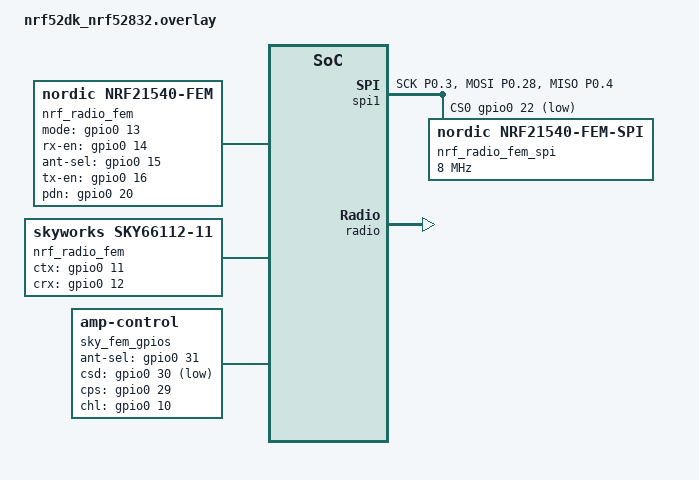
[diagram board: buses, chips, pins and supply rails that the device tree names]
&pinctrl {
	spi1_default: spi1_default {
		group1 {
			psels = <NRF_PSEL(SPIM_MOSI, 0, 23)>,
					<NRF_PSEL(SPIM_MISO, 0, 24)>,
					<NRF_PSEL(SPIM_SCK, 0, 25)>;
//			psels = <NRF_PSEL(SPIM_MOSI, 0, 28)>,
//					<NRF_PSEL(SPIM_MISO, 0, 4)>,
//					<NRF_PSEL(SPIM_SCK, 0, 3)>;
		};
	};
};

&spi1 {
	compatible = "nordic,nrf-spi";
	status = "okay";
	cs-gpios = <&gpio0 22 (GPIO_PULL_UP | GPIO_ACTIVE_LOW)>;
	//cs-gpios = <&gpio0 29 (GPIO_PULL_UP | GPIO_ACTIVE_LOW)>;
	pinctrl-0 = <&spi1_default>;
	pinctrl-names = "default", "sleep";
//	dw1000_spi: dw1000@0 {
//		compatible = "decawave,dw1000";
//		reg = <0x0>;
//		int-gpios = <&gpio0 30 0>;
//		reset-gpios = <&gpio0 31 0>;
//		spi-max-frequency = <8000000>;
//	};
	nrf_radio_fem_spi: nrf21540-fem-spi@0 {
		compatible = "nordic,nrf21540-fem-spi";
		reg = <0x0>;
		spi-max-frequency = <8000000>;
	};
};
&spi2 {
	status = "disabled";
};

/ {
	nrf_radio_fem: nrf21540-fem {
		compatible = "nordic,nrf21540-fem";
		mode-gpios = <&gpio0 13 0>;
		rx-en-gpios = <&gpio0 14 0>;
		ant-sel-gpios = <&gpio0 15 0>;
		tx-en-gpios = <&gpio0 16 0>;
		pdn-gpios = <&gpio0 20 0>;
		spi-if = <&nrf_radio_fem_spi>;
		supply-voltage-mv = <3000>;
		status = "okay";
	};
};

//

&spi1_sleep {
	group1 {
		psels = <NRF_PSEL(SPIM_SCK, 0, 3)>,
				<NRF_PSEL(SPIM_MOSI, 0, 28)>,
				<NRF_PSEL(SPIM_MISO, 0, 4)>;
	};
};

&spi1_default {
	group1 {
		psels = <NRF_PSEL(SPIM_SCK, 0, 3)>,
				<NRF_PSEL(SPIM_MOSI, 0, 28)>,
				<NRF_PSEL(SPIM_MISO, 0, 4)>;
	};
};

/ {
	aliases {
		wake-source = &button0;
	};

	nrf_radio_fem: sky66112-11 {
		compatible = "skyworks,sky66112-11", "generic-fem-two-ctrl-pins";
		ctx-gpios = <&gpio0 11 GPIO_ACTIVE_HIGH>;
		crx-gpios = <&gpio0 12 GPIO_ACTIVE_HIGH>;
		tx-gain-db = <22>;
	};

	sky_fem_gpios: amp_control {
		compatible = "amp-control";
		ant-sel-gpios = <&gpio0 31 0>;
		csd-gpios = <&gpio0 30 GPIO_ACTIVE_LOW>;
		cps-gpios = <&gpio0 29 GPIO_ACTIVE_HIGH>;
		chl-gpios = <&gpio0 10 GPIO_ACTIVE_HIGH>;
	};
};

&radio {
	fem = <&nrf_radio_fem>;
};
